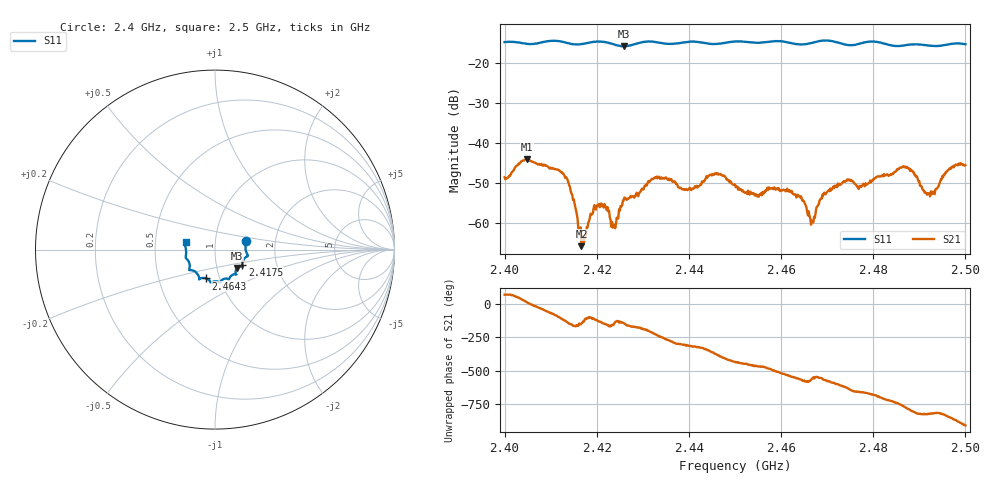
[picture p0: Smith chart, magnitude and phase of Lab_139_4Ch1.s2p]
# Hz S RI R 50
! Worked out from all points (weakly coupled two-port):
!   601 points, 2.4 GHz to 2.5 GHz, reference 50 ohm
!   highest |S21| = -44.09 dB at 2.4048 GHz (marker M1); lowest = -65.7 dB at 2.4167 GHz (marker M2)
!   lowest |S11| = -15.9 dB at 2.4258 GHz (marker M3), VSWR 1.38, Z = 62.3 - j13.2 ohm
!   |S11| at or under -10 dB: start of sweep to end of sweep
!   S12 and S22 are empty: the file has one direction only
!   S11 on the Smith chart (normalised r, x): 2.4 GHz: 1.41, +0.14; 2.4175 GHz: 1.34, -0.23; 2.4643 GHz: 0.86, -0.28; 2.5 GHz: 0.72, +0.06
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2.4e9  0.1734 0.0489  0.00123 0.00353  0 0  0 0
2.404833e9  0.1704 0.0164  0.00605 0.00154  0 0  0 0
2.413e9  0.1746 -0.0403  -0.00207 -0.00329  0 0  0 0
2.416667e9  0.1529 -0.0742  -0.000434 -0.000283  0 0  0 0
2.4175e9  0.1518 -0.0839  -0.000237 -0.000643  0 0  0 0
2.419833e9  0.1539 -0.0978  -0.000745 -0.00127  0 0  0 0
2.422167e9  0.1514 -0.0949  -0.00129 -0.000669  0 0  0 0
2.423667e9  0.1403 -0.094  -0.000842 -0.000407  0 0  0 0
2.425833e9  0.1218 -0.103  -0.00155 -0.00113  0 0  0 0
2.433333e9  0.1136 -0.137  -0.00197 0.00318  0 0  0 0
2.439333e9  0.0795 -0.1616  0.00179 0.00195  0 0  0 0
2.446333e9  0.0448 -0.1655  0.00374 -0.00181  0 0  0 0
2.45e9  0.0289 -0.1813  0.000785 -0.00294  0 0  0 0
2.464333e9  -0.0498 -0.1607  -0.00192 0.00101  0 0  0 0
2.466667e9  -0.0762 -0.1589  -0.00098 0.00044  0 0  0 0
2.469e9  -0.0883 -0.1659  -0.0021 0.000914  0 0  0 0
2.471833e9  -0.0883 -0.1581  -0.00148 0.00243  0 0  0 0
2.483333e9  -0.1407 -0.0897  0.00388 -0.000185  0 0  0 0
2.487333e9  -0.1572 -0.0532  0.00214 -0.00455  0 0  0 0
2.492167e9  -0.161 -0.0238  -0.000618 -0.00224  0 0  0 0
2.4965e9  -0.1678 0.0245  -0.00313 -0.00362  0 0  0 0
2.5e9  -0.164 0.0428  -0.00515 0.0012  0 0  0 0
